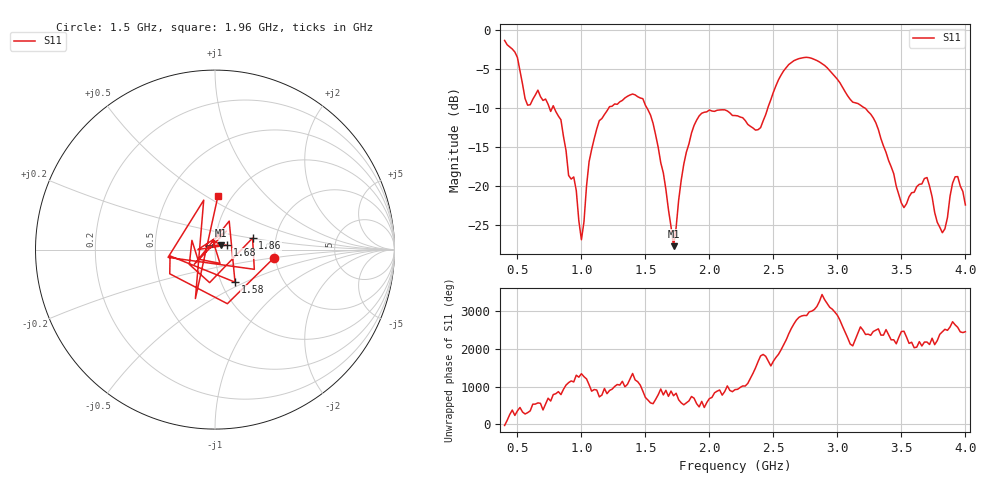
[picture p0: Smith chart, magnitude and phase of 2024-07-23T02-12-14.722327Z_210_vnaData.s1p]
!Created with skrf (http://scikit-rf.org).
# Hz S RI R 50.0
!freq ReS11 ImS11
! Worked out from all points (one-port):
!   181 points, 400 MHz to 4 GHz, reference 50 ohm
!   lowest |S11| = -27.7 dB at 1.72 GHz (marker M1), VSWR 1.09, Z = 53.3 + j2.66 ohm
!   |S11| at or under -10 dB: 788.8 MHz to 1.212 GHz (423.5 MHz wide, 42.3 % of centre); 1.513 GHz to 2.456 GHz (942.4 MHz wide, 47.5 % of centre); 3.218 GHz to end of sweep (the widest 3 of 4)
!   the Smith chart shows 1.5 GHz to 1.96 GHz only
!   S11 on the Smith chart (normalised r, x): 1.5 GHz: 1.96, -0.21; 1.58 GHz: 1.16, -0.44; 1.68 GHz: 1.14, +0.06; 1.86 GHz: 1.51, +0.20; 1.96 GHz: 0.86, +0.56
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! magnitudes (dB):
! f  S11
! 400 MHz  -1.3
! 500 MHz  -3.5
! 580 MHz  -9.6
! 660 MHz  -7.7
! 860 MHz  -13.6
! 960 MHz  -20.6
! 1 GHz  -26.9
! 1.06 GHz  -16.9
! 1.12 GHz  -12.7
! 1.3 GHz  -9.2
! 1.5 GHz  -9.6
! 1.58 GHz  -13.4
! 1.68 GHz  -23.0
! 1.72 GHz  -27.7
! 1.76 GHz  -21.8
! 1.86 GHz  -13.2
! 1.96 GHz  -10.5
! 2.2 GHz  -10.9
! 2.4 GHz  -12.5
! 2.66 GHz  -3.9
! 3.1 GHz  -8.9
! 3.28 GHz  -11.2
! 3.5 GHz  -22.2
! 3.56 GHz  -21.4
! 3.7 GHz  -18.9
! 3.82 GHz  -26.0
! 3.92 GHz  -18.8
! 4 GHz  -22.4
